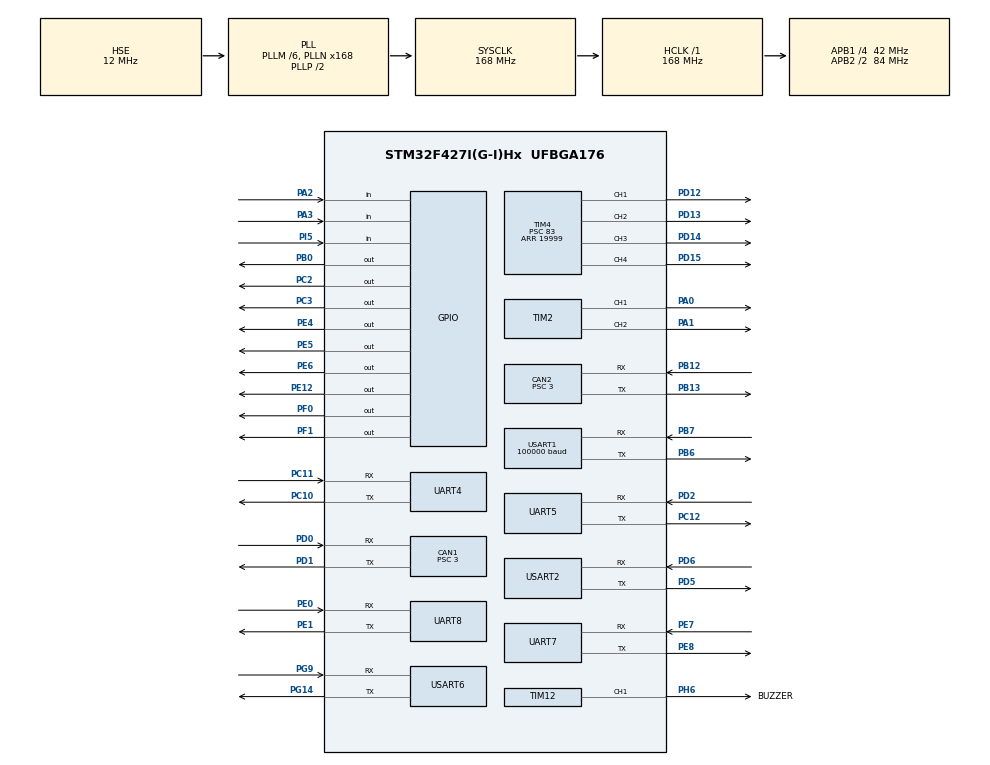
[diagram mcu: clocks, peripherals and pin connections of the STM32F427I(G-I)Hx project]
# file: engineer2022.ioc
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CAN1.BS1=CAN_BS1_10TQ
CAN1.BS2=CAN_BS2_3TQ
CAN1.CalculateBaudRate=1000000
CAN1.CalculateTimeBit=999.99
CAN1.CalculateTimeQuantum=71.42857142857143
CAN1.Prescaler=3
CAN2.BS1=CAN_BS1_10TQ
CAN2.BS2=CAN_BS2_3TQ
CAN2.CalculateBaudRate=1000000
CAN2.CalculateTimeBit=999.99
CAN2.CalculateTimeQuantum=71.42857142857143
CAN2.Prescaler=3
Dma.Request0=USART1_RX
Dma.Request1=USART6_RX
Dma.Request2=USART6_TX
Dma.Request3=USART2_RX
Dma.Request4=USART2_TX
Dma.USART1_RX.0.Direction=DMA_PERIPH_TO_MEMORY
Dma.USART1_RX.0.FIFOMode=DMA_FIFOMODE_DISABLE
Dma.USART1_RX.0.Instance=DMA2_Stream2
Dma.USART1_RX.0.MemDataAlignment=DMA_MDATAALIGN_BYTE
Dma.USART1_RX.0.MemInc=DMA_MINC_ENABLE
Dma.USART1_RX.0.Mode=DMA_CIRCULAR
Dma.USART1_RX.0.PeriphDataAlignment=DMA_PDATAALIGN_BYTE
Dma.USART1_RX.0.PeriphInc=DMA_PINC_DISABLE
Dma.USART1_RX.0.Priority=DMA_PRIORITY_VERY_HIGH
Dma.USART2_RX.3.Direction=DMA_PERIPH_TO_MEMORY
Dma.USART2_RX.3.FIFOMode=DMA_FIFOMODE_DISABLE
Dma.USART2_RX.3.Instance=DMA1_Stream5
Dma.USART2_RX.3.MemDataAlignment=DMA_MDATAALIGN_BYTE
Dma.USART2_RX.3.MemInc=DMA_MINC_ENABLE
Dma.USART2_RX.3.Mode=DMA_NORMAL
Dma.USART2_RX.3.PeriphDataAlignment=DMA_PDATAALIGN_BYTE
Dma.USART2_RX.3.PeriphInc=DMA_PINC_DISABLE
Dma.USART2_RX.3.Priority=DMA_PRIORITY_VERY_HIGH
Dma.USART2_TX.4.Direction=DMA_MEMORY_TO_PERIPH
Dma.USART2_TX.4.FIFOMode=DMA_FIFOMODE_DISABLE
Dma.USART2_TX.4.Instance=DMA1_Stream6
Dma.USART2_TX.4.MemDataAlignment=DMA_MDATAALIGN_BYTE
Dma.USART2_TX.4.MemInc=DMA_MINC_ENABLE
Dma.USART2_TX.4.Mode=DMA_NORMAL
Dma.USART2_TX.4.PeriphDataAlignment=DMA_PDATAALIGN_BYTE
Dma.USART2_TX.4.PeriphInc=DMA_PINC_DISABLE
Dma.USART2_TX.4.Priority=DMA_PRIORITY_VERY_HIGH
Dma.USART6_RX.1.Direction=DMA_PERIPH_TO_MEMORY
Dma.USART6_RX.1.FIFOMode=DMA_FIFOMODE_DISABLE
Dma.USART6_RX.1.Instance=DMA2_Stream1
Dma.USART6_RX.1.MemDataAlignment=DMA_MDATAALIGN_BYTE
Dma.USART6_RX.1.MemInc=DMA_MINC_ENABLE
Dma.USART6_RX.1.Mode=DMA_NORMAL
Dma.USART6_RX.1.PeriphDataAlignment=DMA_PDATAALIGN_BYTE
Dma.USART6_RX.1.PeriphInc=DMA_PINC_DISABLE
Dma.USART6_RX.1.Priority=DMA_PRIORITY_HIGH
Dma.USART6_TX.2.Direction=DMA_MEMORY_TO_PERIPH
Dma.USART6_TX.2.FIFOMode=DMA_FIFOMODE_DISABLE
Dma.USART6_TX.2.Instance=DMA2_Stream6
Dma.USART6_TX.2.MemDataAlignment=DMA_MDATAALIGN_BYTE
Dma.USART6_TX.2.MemInc=DMA_MINC_ENABLE
Dma.USART6_TX.2.Mode=DMA_NORMAL
Dma.USART6_TX.2.PeriphDataAlignment=DMA_PDATAALIGN_BYTE
Dma.USART6_TX.2.PeriphInc=DMA_PINC_DISABLE
Dma.USART6_TX.2.Priority=DMA_PRIORITY_LOW
FREERTOS.INCLUDE_eTaskGetState=1
FREERTOS.INCLUDE_pcTaskGetTaskName=1
FREERTOS.INCLUDE_uxTaskGetStackHighWaterMark=1
FREERTOS.INCLUDE_uxTaskGetStackHighWaterMark2=1
FREERTOS.INCLUDE_vTaskCleanUpResources=1
FREERTOS.INCLUDE_vTaskDelayUntil=1
FREERTOS.INCLUDE_xQueueGetMutexHolder=1
FREERTOS.INCLUDE_xSemaphoreGetMutexHolder=1
FREERTOS.INCLUDE_xTaskAbortDelay=1
FREERTOS.INCLUDE_xTaskGetCurrentTaskHandle=1
FREERTOS.INCLUDE_xTaskGetHandle=1
FREERTOS.Tasks01=defaultTask,0,128,StartDefaultTask,Default,NULL,Dynamic,NULL,NULL
FREERTOS.configTOTAL_HEAP_SIZE=24576
FREERTOS.configUSE_TIMERS=1
Mcu.Family=STM32F4
Mcu.Name=STM32F427I(G-I)Hx
Mcu.Package=UFBGA176
NVIC.CAN1_RX0_IRQn=true\:5\:0\:false\:false\:true\:true\:true\:true
NVIC.CAN2_RX0_IRQn=true\:5\:0\:false\:false\:true\:true\:true\:true
NVIC.DMA1_Stream5_IRQn=true\:5\:0\:false\:false\:true\:true\:false\:true
NVIC.DMA1_Stream6_IRQn=true\:5\:0\:false\:false\:true\:true\:false\:true
NVIC.DMA2_Stream1_IRQn=true\:5\:0\:false\:false\:true\:true\:false\:true
NVIC.DMA2_Stream2_IRQn=true\:5\:0\:false\:false\:true\:true\:false\:true
NVIC.DMA2_Stream6_IRQn=true\:5\:0\:false\:false\:true\:true\:false\:true
NVIC.PriorityGroup=NVIC_PRIORITYGROUP_4
NVIC.UART7_IRQn=true\:5\:0\:false\:false\:true\:true\:true\:true
NVIC.UART8_IRQn=true\:5\:0\:false\:false\:true\:true\:true\:true
NVIC.USART1_IRQn=true\:5\:0\:false\:false\:true\:true\:true\:true
NVIC.USART2_IRQn=true\:5\:0\:false\:false\:true\:true\:true\:true
NVIC.USART6_IRQn=true\:5\:0\:false\:false\:true\:true\:true\:true
PA0/WKUP.Signal=S_TIM2_CH1_ETR
PA1.Signal=S_TIM2_CH2
PA13.Mode=Serial_Wire
PA13.Signal=SYS_JTMS-SWDIO
PA14.Mode=Serial_Wire
PA14.Signal=SYS_JTCK-SWCLK
PA2.GPIO_PuPd=GPIO_PULLDOWN
PA2.Signal=GPIO_Input
PA3.GPIO_PuPd=GPIO_PULLDOWN
PA3.Signal=GPIO_Input
PB0.Signal=GPIO_Output
PB12.Mode=CAN_Activate
PB12.Signal=CAN2_RX
PB13.Mode=CAN_Activate
PB13.Signal=CAN2_TX
PB6.Mode=Asynchronous
PB6.Signal=USART1_TX
PB7.Mode=Asynchronous
PB7.Signal=USART1_RX
PC10.Mode=Asynchronous
PC10.Signal=UART4_TX
PC11.Mode=Asynchronous
PC11.Signal=UART4_RX
PC12.Mode=Asynchronous
PC12.Signal=UART5_TX
PC2.Signal=GPIO_Output
PC3.Signal=GPIO_Output
PD0.Mode=CAN_Activate
PD0.Signal=CAN1_RX
PD1.Mode=CAN_Activate
PD1.Signal=CAN1_TX
PD12.Signal=S_TIM4_CH1
PD13.Signal=S_TIM4_CH2
PD14.Signal=S_TIM4_CH3
PD15.Signal=S_TIM4_CH4
PD2.Mode=Asynchronous
PD2.Signal=UART5_RX
PD5.Mode=Asynchronous
PD5.Signal=USART2_TX
PD6.Mode=Asynchronous
PD6.Signal=USART2_RX
PE0.Mode=Asynchronous
PE0.Signal=UART8_RX
PE1.Mode=Asynchronous
PE1.Signal=UART8_TX
PE12.Signal=GPIO_Output
PE4.Signal=GPIO_Output
PE5.Signal=GPIO_Output
PE6.Signal=GPIO_Output
PE7.Mode=Asynchronous
PE7.Signal=UART7_RX
PE8.Mode=Asynchronous
PE8.Signal=UART7_TX
PF0.Signal=GPIO_Output
PF1.Signal=GPIO_Output
PG14.Mode=Asynchronous
PG14.Signal=USART6_TX
PG9.Mode=Asynchronous
PG9.Signal=USART6_RX
PH0/OSC_IN.Mode=HSE-External-Oscillator
PH0/OSC_IN.Signal=RCC_OSC_IN
PH1/OSC_OUT.Mode=HSE-External-Oscillator
PH1/OSC_OUT.Signal=RCC_OSC_OUT
PH6.GPIO_Label=BUZZER
PH6.GPIO_PuPd=GPIO_PULLUP
PH6.GPIO_Speed=GPIO_SPEED_FREQ_VERY_HIGH
PH6.Signal=S_TIM12_CH1
PI5.GPIO_PuPd=GPIO_PULLDOWN
PI5.Signal=GPIO_Input
ProjectManager.HeapSize=0x200
ProjectManager.StackSize=0x400
ProjectManager.TargetToolchain=MDK-ARM V5
RCC.48MHZClocksFreq_Value=84000000
RCC.AHBFreq_Value=168000000
RCC.APB1CLKDivider=RCC_HCLK_DIV4
RCC.APB1Freq_Value=42000000
RCC.APB1TimFreq_Value=84000000
RCC.APB2CLKDivider=RCC_HCLK_DIV2
RCC.APB2Freq_Value=84000000
RCC.APB2TimFreq_Value=168000000
RCC.CortexFreq_Value=168000000
RCC.HCLKFreq_Value=168000000
RCC.HSE_VALUE=12000000
RCC.HSI_VALUE=16000000
RCC.LSE_VALUE=32768
RCC.PLLM=6
RCC.PLLN=168
RCC.PLLSourceVirtual=RCC_PLLSOURCE_HSE
RCC.SYSCLKFreq_VALUE=168000000
RCC.SYSCLKSource=RCC_SYSCLKSOURCE_PLLCLK
RCC.VCOOutputFreq_Value=336000000
SH.S_TIM12_CH1.0=TIM12_CH1,PWM Generation1 CH1
SH.S_TIM2_CH1_ETR.0=TIM2_CH1,PWM Generation1 CH1
SH.S_TIM2_CH2.0=TIM2_CH2,PWM Generation2 CH2
SH.S_TIM4_CH1.0=TIM4_CH1,PWM Generation1 CH1
SH.S_TIM4_CH2.0=TIM4_CH2,PWM Generation2 CH2
SH.S_TIM4_CH3.0=TIM4_CH3,PWM Generation3 CH3
SH.S_TIM4_CH4.0=TIM4_CH4,PWM Generation4 CH4
TIM12.Channel-PWM\ Generation1\ CH1=TIM_CHANNEL_1
TIM12.Period=20999
TIM2.Channel-PWM\ Generation1\ CH1=TIM_CHANNEL_1
TIM2.Channel-PWM\ Generation2\ CH2=TIM_CHANNEL_2
TIM4.Channel-PWM\ Generation1\ CH1=TIM_CHANNEL_1
TIM4.Channel-PWM\ Generation2\ CH2=TIM_CHANNEL_2
TIM4.Channel-PWM\ Generation3\ CH3=TIM_CHANNEL_3
TIM4.Channel-PWM\ Generation4\ CH4=TIM_CHANNEL_4
TIM4.Period=19999
TIM4.Prescaler=83
UART4.VirtualMode=Asynchronous
UART5.VirtualMode=Asynchronous
UART7.VirtualMode=Asynchronous
UART8.VirtualMode=Asynchronous
USART1.BaudRate=100000
USART1.Mode=MODE_RX
USART1.Parity=PARITY_EVEN
USART1.VirtualMode=VM_ASYNC
USART2.VirtualMode=VM_ASYNC
USART6.VirtualMode=VM_ASYNC
VP_FREERTOS_VS_CMSIS_V1.Mode=CMSIS_V1
VP_TIM12_VS_ClockSourceINT.Mode=Internal
VP_TIM2_VS_ClockSourceINT.Mode=Internal
VP_TIM4_VS_ClockSourceINT.Mode=Internal
board=custom

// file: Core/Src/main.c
/* USER CODE BEGIN Header */
/**
  ******************************************************************************
  * @file           : main.c
  * @brief          : Main program body
  ******************************************************************************
  * @attention
  *
  * <h2><center>&copy; Copyright (c) 2022 STMicroelectronics.
  * All rights reserved.</center></h2>
  *
  * This software component is licensed by ST under Ultimate Liberty license
  * SLA0044, the "License"; You may not use this file except in compliance with
  * the License. You may obtain a copy of the License at:
  *                             www.st.com/SLA0044
  *
  ******************************************************************************
  */
/* USER CODE END Header */
#include "main.h"
#include "cmsis_os.h"
#include "can.h"
#include "dma.h"
#include "tim.h"
#include "usart.h"
#include "gpio.h"

/* USER CODE BEGIN Includes */
#include "bsp_rc.h"
#include "bsp_can.h"
#include "bsp_gyro.h"
#include "bsp_usart.h"
#include "CAN_receive.h"
#include "remote_control.h"
#include "bsp_rs485.h"
/* USER CODE END Includes */

void SystemClock_Config(void);
void MX_FREERTOS_Init(void);

int main(void)
{

  /* MCU Configuration--------------------------------------------------------*/

  /* Reset of all peripherals, Initializes the Flash interface and the Systick. *	HAL_Init();

  /* Configure the system clock */
  SystemClock_Config();

  /* Initialize all configured peripherals */
  MX_GPIO_Init();
  MX_DMA_Init();
  MX_CAN1_Init();
  MX_CAN2_Init();
  MX_TIM4_Init();
  MX_USART1_UART_Init();
  MX_TIM12_Init();
  MX_UART7_Init();
  MX_TIM2_Init();
  MX_USART6_UART_Init();
  MX_USART2_UART_Init();
  MX_UART8_Init();
  MX_UART4_Init();
  MX_UART5_Init();
  /* USER CODE BEGIN 2 */
	remote_control_init();
	can_filter_init();
	HAL_TIM_Base_Start(&htim4);
  HAL_TIM_PWM_Start(&htim4, TIM_CHANNEL_1);
  HAL_TIM_PWM_Start(&htim4, TIM_CHANNEL_2);
	HAL_TIM_PWM_Start(&htim4, TIM_CHANNEL_3);
  HAL_TIM_PWM_Start(&htim4, TIM_CHANNEL_4);
	HAL_TIM_Base_Start(&htim12);
  HAL_TIM_PWM_Start(&htim12, TIM_CHANNEL_1);
	uart7_init();
	uart8_init();
	usart2_idle_init();
	uart5_init();
	rs485_uart_init();
  /* USER CODE END 2 */

  /* Call init function for freertos objects (in freertos.c) */
  MX_FREERTOS_Init();
  /* Start scheduler */
  osKernelStart();

  /* We should never get here as control is now taken by the scheduler */
  /* Infinite loop */
  while (1)
  {

  }
}

void SystemClock_Config(void)
{
  RCC_OscInitTypeDef RCC_OscInitStruct = {0};
  RCC_ClkInitTypeDef RCC_ClkInitStruct = {0};

  /** Configure the main internal regulator output voltage
  */
  __HAL_RCC_PWR_CLK_ENABLE();
  __HAL_PWR_VOLTAGESCALING_CONFIG(PWR_REGULATOR_VOLTAGE_SCALE1);
  /** Initializes the RCC Oscillators according to the specified parameters
  * in the RCC_OscInitTypeDef structure.
  */
  RCC_OscInitStruct.OscillatorType = RCC_OSCILLATORTYPE_HSE;
  RCC_OscInitStruct.HSEState = RCC_HSE_ON;
  RCC_OscInitStruct.PLL.PLLState = RCC_PLL_ON;
  RCC_OscInitStruct.PLL.PLLSource = RCC_PLLSOURCE_HSE;
  RCC_OscInitStruct.PLL.PLLM = 6;
  RCC_OscInitStruct.PLL.PLLN = 168;
  RCC_OscInitStruct.PLL.PLLP = RCC_PLLP_DIV2;
  RCC_OscInitStruct.PLL.PLLQ = 4;
  if (HAL_RCC_OscConfig(&RCC_OscInitStruct) != HAL_OK)
  {
    Error_Handler();
  }
  /** Initializes the CPU, AHB and APB buses clocks
  */
  RCC_ClkInitStruct.ClockType = RCC_CLOCKTYPE_HCLK|RCC_CLOCKTYPE_SYSCLK
                              |RCC_CLOCKTYPE_PCLK1|RCC_CLOCKTYPE_PCLK2;
  RCC_ClkInitStruct.SYSCLKSource = RCC_SYSCLKSOURCE_PLLCLK;
  RCC_ClkInitStruct.AHBCLKDivider = RCC_SYSCLK_DIV1;
  RCC_ClkInitStruct.APB1CLKDivider = RCC_HCLK_DIV4;
  RCC_ClkInitStruct.APB2CLKDivider = RCC_HCLK_DIV2;

  if (HAL_RCC_ClockConfig(&RCC_ClkInitStruct, FLASH_LATENCY_5) != HAL_OK)
  {
    Error_Handler();
  }
}

void Error_Handler(void)
{
  __disable_irq();
  while (1)
  {
  }
}

/************************ (C) COPYRIGHT STMicroelectronics *****END OF FILE****/

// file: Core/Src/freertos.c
/* USER CODE BEGIN Header */
/**
  ******************************************************************************
  * File Name          : freertos.c
  * Description        : Code for freertos applications
  ******************************************************************************
  * @attention
  *
  * <h2><center>&copy; Copyright (c) 2022 STMicroelectronics.
  * All rights reserved.</center></h2>
  *
  * This software component is licensed by ST under Ultimate Liberty license
  * SLA0044, the "License"; You may not use this file except in compliance with
  * the License. You may obtain a copy of the License at:
  *                             www.st.com/SLA0044
  *
  ******************************************************************************
  */
/* USER CODE END Header */

#include "FreeRTOS.h"
#include "task.h"
#include "main.h"
#include "cmsis_os.h"

/* USER CODE BEGIN Includes */
#include "chassis_task.h"
#include "detect_task.h"
#include "VOFA.h"
#include "pc_info_task.h"
#include "UI_task.h"
#include "referee_usart_task.h"
#include "air_control_task.h"
#include "A_communicate_task.h"
#include "arm_zero_task.h"
#include "arm_control_task.h"
/* USER CODE END Includes */

/* USER CODE BEGIN Variables */
osThreadId chassisTaskHandle;
//osThreadId detect_handle;
osThreadId VofaTaskHandle;
//osThreadId testHandle;
osThreadId pcinfotaskHandle;
//osThreadId RefereeusartTaskHandle;
//osThreadId UITaskHandle;
osThreadId AircontroltaskHandle;
osThreadId AcommunicatetaskHandle;
osThreadId ArmzerotaskHandle;
/* USER CODE END Variables */
osThreadId defaultTaskHandle;
osThreadId ArmcontroltaskHandle;

void StartDefaultTask(void const * argument);

void MX_FREERTOS_Init(void); /* (MISRA C 2004 rule 8.1) */

/* GetIdleTaskMemory prototype (linked to static allocation support) */
void vApplicationGetIdleTaskMemory( StaticTask_t **ppxIdleTaskTCBBuffer, StackType_t **ppxIdleTaskStackBuffer, uint32_t *pulIdleTaskStackSize );

/* GetTimerTaskMemory prototype (linked to static allocation support) */
void vApplicationGetTimerTaskMemory( StaticTask_t **ppxTimerTaskTCBBuffer, StackType_t **ppxTimerTaskStackBuffer, uint32_t *pulTimerTaskStackSize );

/* USER CODE BEGIN GET_IDLE_TASK_MEMORY */
static StaticTask_t xIdleTaskTCBBuffer;
static StackType_t xIdleStack[configMINIMAL_STACK_SIZE];

void vApplicationGetIdleTaskMemory( StaticTask_t **ppxIdleTaskTCBBuffer, StackType_t **ppxIdleTaskStackBuffer, uint32_t *pulIdleTaskStackSize )
{
  *ppxIdleTaskTCBBuffer = &xIdleTaskTCBBuffer;
  *ppxIdleTaskStackBuffer = &xIdleStack[0];
  *pulIdleTaskStackSize = configMINIMAL_STACK_SIZE;
  /* place for user code */
}
/* USER CODE END GET_IDLE_TASK_MEMORY */

/* USER CODE BEGIN GET_TIMER_TASK_MEMORY */
static StaticTask_t xTimerTaskTCBBuffer;
static StackType_t xTimerStack[configTIMER_TASK_STACK_DEPTH];

void vApplicationGetTimerTaskMemory( StaticTask_t **ppxTimerTaskTCBBuffer, StackType_t **ppxTimerTaskStackBuffer, uint32_t *pulTimerTaskStackSize )
{
  *ppxTimerTaskTCBBuffer = &xTimerTaskTCBBuffer;
  *ppxTimerTaskStackBuffer = &xTimerStack[0];
  *pulTimerTaskStackSize = configTIMER_TASK_STACK_DEPTH;
  /* place for user code */
}
/* USER CODE END GET_TIMER_TASK_MEMORY */

void MX_FREERTOS_Init(void) {

  /* Create the thread(s) */
  /* definition and creation of defaultTask */
  osThreadDef(defaultTask, StartDefaultTask, osPriorityNormal, 0, 128);
  defaultTaskHandle = osThreadCreate(osThread(defaultTask), NULL);

  /* USER CODE BEGIN RTOS_THREADS */
  /* add threads, ... */
//	osThreadDef(Mousedelay, mouse_delay_task, osPriorityAboveNormal, 0, 256);
//  MousedelayTaskHandle = osThreadCreate(osThread(Mousedelay), NULL);

	osThreadDef(ChassisTask, chassis_task, osPriorityHigh, 0, 512);
  chassisTaskHandle = osThreadCreate(osThread(ChassisTask), NULL);

//  osThreadDef(DETECT, detect_task, osPriorityNormal, 0, 256);
//  detect_handle = osThreadCreate(osThread(DETECT), NULL);

//	osThreadDef(test, test_task, osPriorityNormal, 0, 128);
//  testHandle = osThreadCreate(osThread(test), NULL);

//	osThreadDef(VofaTask, vofa_task, osPriorityAboveNormal, 0, 256);
//  VofaTaskHandle = osThreadCreate(osThread(VofaTask), NULL);

//	osThreadDef(RefereeusartTask, referee_usart_task, osPriorityAboveNormal, 0, 256);
//  RefereeusartTaskHandle = osThreadCreate(osThread(RefereeusartTask), NULL);
//
//	osThreadDef(UITask, ui_task, osPriorityAboveNormal, 0, 256);
//  UITaskHandle = osThreadCreate(osThread(UITask), NULL);

	osThreadDef(pcinfotask, pc_info_task, osPriorityAboveNormal, 0, 256);
  pcinfotaskHandle = osThreadCreate(osThread(pcinfotask), NULL);

	osThreadDef(AircontrolTask, air_control_task, osPriorityNormal, 0, 256);
	AircontroltaskHandle = osThreadCreate(osThread(AircontrolTask), NULL);

	osThreadDef(AcommunicateTask, A_communicate_task, osPriorityAboveNormal, 0, 512);
	AcommunicatetaskHandle = osThreadCreate(osThread(AcommunicateTask), NULL);

	osThreadDef(ArmzeroTask, arm_zero_task, osPriorityAboveNormal, 0, 256);
	ArmzerotaskHandle = osThreadCreate(osThread(ArmzeroTask), NULL);

	osThreadDef(ArmcontrolTask, arm_control_task, osPriorityNormal, 0, 256);
	ArmcontroltaskHandle = osThreadCreate(osThread(ArmcontrolTask), NULL);
  /* USER CODE END RTOS_THREADS */

}

void StartDefaultTask(void const * argument)
{
  for(;;)
  {
    osDelay(1);
  }
}

/************************ (C) COPYRIGHT STMicroelectronics *****END OF FILE****/
